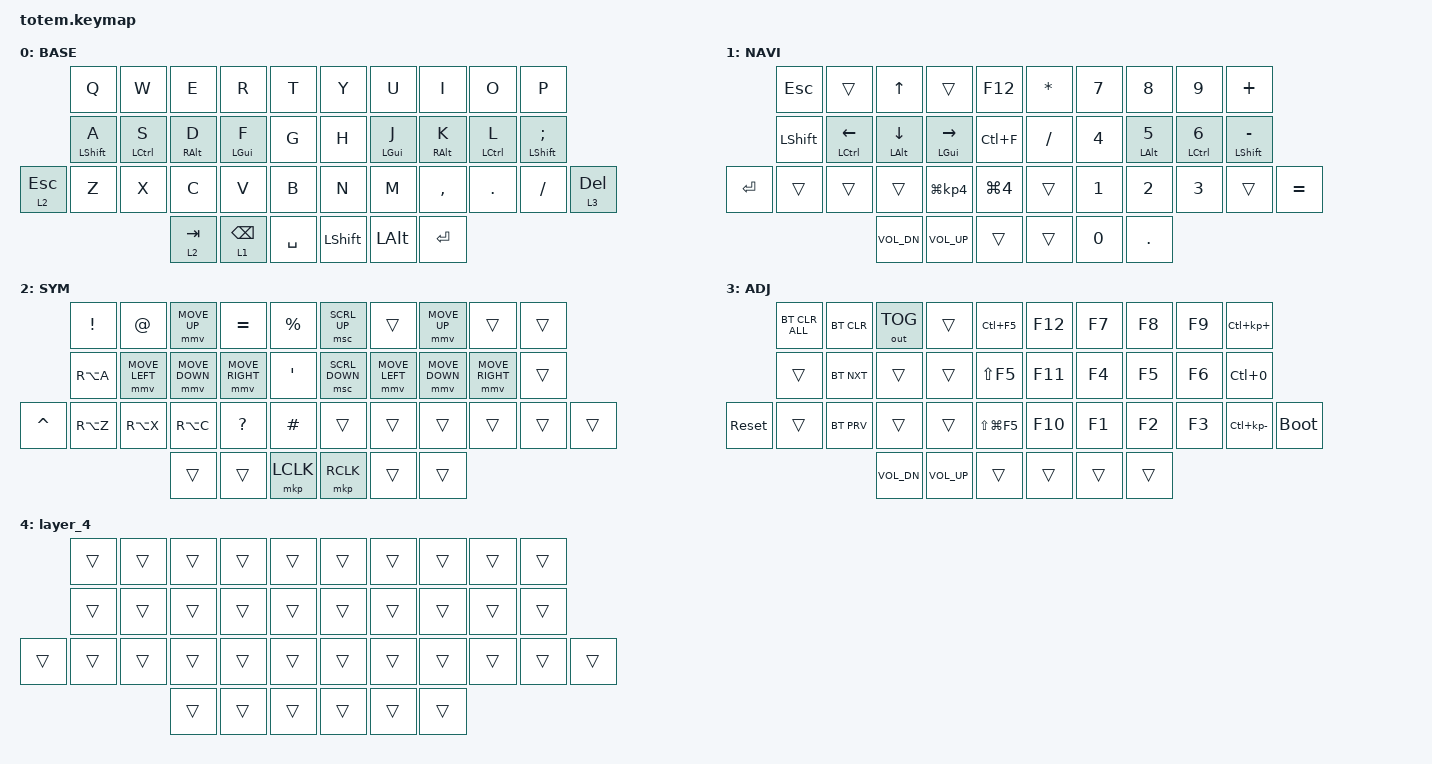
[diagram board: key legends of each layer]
//
//                                                        ▀▀▀▀▀     ▀▀▀▀▀          ▀▀█▀▀
//                                                        ▄▀▀▀▄  ▄  ▄▀▀▀▄  ▄  ▄▀▀▀▄  █  ▄▀▀▀▄
//                                                        █   █  █  █   █  █  █   █  █  █   █
//                                                         ▀▀▀   █   ▀▀▀   █   ▀▀▀   ▀   ▀▀▀
//                                                               █      ▄▄▄█▄▄▄    █   █  
//                                                               ▀      █  █  █     █▄█
//                                                             ▀▀▀▀▀    █  █  █      ▀
//                                                                      ▀  ▀  ▀
//
// ▄▄▄▄▄▄▄▄▄▄▄▄▄▄▄▄▄▄▄▄▄▄▄▄▄▄▄▄▄▄▄▄▄▄▄▄▄▄▄▄▄▄▄▄▄▄▄▄▄▄▄▄▄▄▄▄▄▄▄▄▄▄▄▄▄▄▄▄▄▄▄▄▄▄▄▄▄▄▄▄▄▄▄▄▄▄▄▄▄▄▄▄▄▄▄▄▄▄▄▄▄▄▄▄▄▄▄▄▄▄▄▄▄▄▄▄▄▄▄▄▄▄▄▄▄▄▄▄▄▄▄▄▄▄▄▄▄▄▄▄▄▄▄▄▄▄▄▄▄

#include <behaviors.dtsi>
#include <dt-bindings/zmk/bt.h>
#include <dt-bindings/zmk/keys.h>
#include <dt-bindings/zmk/outputs.h>
#include <dt-bindings/zmk/pointing.h>

#define BASE 0
#define NAV  1
#define SYM  2
#define ADJ  3
#define TVP1 4
#define TVP2 5

&mt {
    quick-tap-ms = <(-1)>;
    global-quick-tap;
    flavor = "balanced";
    tapping-term-ms = <200>;
    require-prior-idle-ms = <(-1)>;
};

&sl { release-after-ms = <200>; };

/ {
    combos {
        compatible = "zmk,combos";

        left-parenthesis {
            bindings = <&kp LEFT_PARENTHESIS>;
            key-positions = <12 13>;
        };

        right-parenthesis {
            bindings = <&kp RIGHT_PARENTHESIS>;
            key-positions = <16 17>;
        };

        left-brace {
            bindings = <&kp LEFT_BRACE>;
            key-positions = <12 11>;
        };

        right-brace {
            bindings = <&kp RIGHT_BRACE>;
            key-positions = <17 18>;
        };

        left-bracket {
            bindings = <&kp LEFT_BRACKET>;
            key-positions = <10 11>;
        };

        right-bracket {
            bindings = <&kp RIGHT_BRACKET>;
            key-positions = <18 19>;
        };

        less-than {
            bindings = <&kp LESS_THAN>;
            key-positions = <13 10>;
        };

        more-than {
            bindings = <&kp GREATER_THAN>;
            key-positions = <16 19>;
        };

        and {
            bindings = <&kp AMPS>;
            key-positions = <6 7>;
        };

        or {
            bindings = <&kp PIPE>;
            key-positions = <7 8>;
        };

        not {
            bindings = <&kp EXCLAMATION>;
            key-positions = <8 9>;
        };

        dollar {
            bindings = <&kp DOLLAR>;
            key-positions = <3 2>;
        };

        hash {
            bindings = <&kp HASH>;
            key-positions = <2 1>;
        };

        at {
            bindings = <&kp AT_SIGN>;
            key-positions = <1 0>;
        };

        single-quote {
            bindings = <&kp SINGLE_QUOTE>;
            key-positions = <27 28>;
        };

        dash {
            bindings = <&kp MINUS>;
            key-positions = <28 29>;
        };

        tilde {
            bindings = <&kp TILDE>;
            key-positions = <29 30>;
        };

        percent {
            bindings = <&kp PERCENT>;
            key-positions = <24 23>;
        };

        asterisk {
            bindings = <&kp ASTERISK>;
            key-positions = <23 22>;
        };

        backtick {
            bindings = <&kp GRAVE>;
            key-positions = <21 22>;
        };
    };

    macros {
        gif: gif {
            label = "giphy";
            compatible = "zmk,behavior-macro";
            #binding-cells = <0>;
            bindings =
                <&macro_press>,
                <&kp LSHFT>,
                <&macro_tap>,
                <&kp N2>,
                <&macro_release>,
                <&kp LSHFT>,
                <&macro_tap>,
                <&kp G &kp I &kp F>;
        };
    };

    behaviors {
        cfmod: cfmod {
            compatible = "zmk,behavior-hold-tap";
            label = "Custom fast mod";
            bindings = <&kp>, <&kp>;

            #binding-cells = <2>;
            quick-tap-ms = <150>;
            require-prior-idle-ms = <100>;
            tapping-term-ms = <200>;
            flavor = "balanced";
        };

        cflt: cflt {
            compatible = "zmk,behavior-hold-tap";
            label = "custom fast layer tap";
            bindings = <&mo>, <&kp>;

            #binding-cells = <2>;
            quick-tap-ms = <175>;
            require-prior-idle-ms = <(-1)>;
            tapping-term-ms = <280>;
            flavor = "tap-preferred";
        };
    };

    keymap {
        compatible = "zmk,keymap";

        // ▄▄▄▄▄▄▄▄▄▄▄▄▄▄▄▄▄▄▄▄▄▄▄▄▄▄▄▄▄▄▄▄▄▄▄▄▄▄▄▄▄▄▄▄▄▄▄▄▄▄▄▄▄▄▄▄▄▄▄▄▄▄▄▄▄▄▄▄▄▄▄▄▄▄▄▄▄▄▄▄▄▄▄▄▄▄▄▄▄▄▄▄▄▄▄▄▄▄▄▄▄▄▄▄▄▄▄▄▄▄▄▄▄▄▄▄▄▄▄▄▄▄▄▄▄▄▄▄▄▄▄▄▄▄▄▄▄▄▄▄▄▄▄▄▄▄▄▄▄

        base_layer {
            // ┏━━━━━━━━━━━━━━━━━━━━━━━━━━━━━━━━━━━━━━━┓

            label = "BASE";

            // ┗━━━━━━━━━━━━━━━━━━━━━━━━━━━━━━━━━━━━━━━┛
            //             ┏━━━━━━━━━━━┳━━━━━━━━━━━┳━━━━━━━━━━━┳━━━━━━━━━━━┳━━━━━━━━━━━┓   ┏━━━━━━━━━━━┳━━━━━━━━━━━┳━━━━━━━━━━━┳━━━━━━━━━━━┳━━━━━━━━━━━┓
            //             ┃     Q     ┃     W     ┃     F     ┃     P     ┃     G     ┃   ┃     J     ┃     L     ┃     U     ┃     Y     ┃     ;     ┃
            //             ┣━━━━━━━━━━━╋━━━━━━━━━━━╋━━━━━━━━━━━╋━━━━━━━━━━━╋━━━━━━━━━━━┫   ┣━━━━━━━━━━━╋━━━━━━━━━━━╋━━━━━━━━━━━╋━━━━━━━━━━━╋━━━━━━━━━━━┫
            //             ┃     A     ┃     R     ┃     S     ┃     T     ┃     D     ┃   ┃     H     ┃     N     ┃     E     ┃     I     ┃     O     ┃
            // ┏━━━━━━━━━━━╋━━━━━━━━━━━╋━━━━━━━━━━━╋━━━━━━━━━━━╋━━━━━━━━━━━╋━━━━━━━━━━━┫   ┣━━━━━━━━━━━╋━━━━━━━━━━━╋━━━━━━━━━━━╋━━━━━━━━━━━╋━━━━━━━━━━━╋━━━━━━━━━━━┓
            // ┃     Q     ┃     Z     ┃     X     ┃     C     ┃     V     ┃     B     ┃   ┃     K     ┃     M     ┃     ,     ┃     .     ┃     /     ┃     \     ┃
            // ┗━━━━━━━━━━━┻━━━━━━━━━━━┻━━━━━━━━━━━╋━━━━━━━━━━━╋━━━━━━━━━━━╋━━━━━━━━━━━┫   ┣━━━━━━━━━━━╋━━━━━━━━━━━╋━━━━━━━━━━━╋━━━━━━━━━━━┻━━━━━━━━━━━┻━━━━━━━━━━━┛
            //                                     ┃    DEL    ┃    TAB    ┃    SPC    ┃   ┃   ENTER   ┃           ┃   BSPC    ┃
            //                                     ┗━━━━━━━━━━━┻━━━━━━━━━━━┻━━━━━━━━━━━┛   ┗━━━━━━━━━━━┻━━━━━━━━━━━┻━━━━━━━━━━━┛

            bindings = <
                &kp Q                &kp W           &kp E               &kp R              &kp T        &kp Y           &kp U              &kp I               &kp O           &kp P
                &cfmod LEFT_SHIFT A  &cfmod LCTRL S  &cfmod RIGHT_ALT D  &cfmod LEFT_GUI F  &kp G        &kp H           &cfmod LEFT_GUI J  &cfmod RIGHT_ALT K  &cfmod LCTRL L  &cfmod LEFT_SHIFT SEMICOLON
&cflt 2 ESCAPE  &kp Z                &kp X           &kp C               &kp V              &kp B        &kp N           &kp M              &kp COMMA           &kp DOT         &kp SLASH                    &cflt 3 DELETE
                                                     &cflt 2 TAB         &cflt 1 BACKSPACE  &kp SPACE    &kp LEFT_SHIFT  &kp LALT           &kp RET
            >;
        };

        // ▄▄▄▄▄▄▄▄▄▄▄▄▄▄▄▄▄▄▄▄▄▄▄▄▄▄▄▄▄▄▄▄▄▄▄▄▄▄▄▄▄▄▄▄▄▄▄▄▄▄▄▄▄▄▄▄▄▄▄▄▄▄▄▄▄▄▄▄▄▄▄▄▄▄▄▄▄▄▄▄▄▄▄▄▄▄▄▄▄▄▄▄▄▄▄▄▄▄▄▄▄▄▄▄▄▄▄▄▄▄▄▄▄▄▄▄▄▄▄▄▄▄▄▄▄▄▄▄▄▄▄▄▄▄▄▄▄▄▄▄▄▄▄▄▄▄▄▄▄

        nav_layer {
            // ┏━━━━━━━━━━━━━━━━━━━━━━━━━━━━━━━━━━━━━━━┓

            label = "NAVI";

            // ┗━━━━━━━━━━━━━━━━━━━━━━━━━━━━━━━━━━━━━━━┛
            //             ┏━━━━━━━━━━━┳━━━━━━━━━━━┳━━━━━━━━━━━┳━━━━━━━━━━━┳━━━━━━━━━━━┓   ┏━━━━━━━━━━━┳━━━━━━━━━━━┳━━━━━━━━━━━┳━━━━━━━━━━━┳━━━━━━━━━━━┓
            //             ┃           ┃           ┃     UP    ┃           ┃     {     ┃   ┃     }     ┃     7     ┃     8     ┃     9     ┃     +     ┃
            //             ┣━━━━━━━━━━━╋━━━━━━━━━━━╋━━━━━━━━━━━╋━━━━━━━━━━━╋━━━━━━━━━━━┫   ┣━━━━━━━━━━━╋━━━━━━━━━━━╋━━━━━━━━━━━╋━━━━━━━━━━━╋━━━━━━━━━━━┫
            //             ┃   SHIFT   ┃   LEFT    ┃    DOWN   ┃   RIGHT   ┃     [     ┃   ┃     ]     ┃     4     ┃     5     ┃     6     ┃     -     ┃
            // ┏━━━━━━━━━━━╋━━━━━━━━━━━╋━━━━━━━━━━━╋━━━━━━━━━━━╋━━━━━━━━━━━╋━━━━━━━━━━━┫   ┣━━━━━━━━━━━╋━━━━━━━━━━━╋━━━━━━━━━━━╋━━━━━━━━━━━╋━━━━━━━━━━━╋━━━━━━━━━━━┓
            // ┃           ┃           ┃   P UP    ┃  C LOCK   ┃  P DOWN   ┃     (     ┃   ┃     )     ┃     1     ┃     2     ┃     3     ┃     *     ┃           ┃
            // ┗━━━━━━━━━━━┻━━━━━━━━━━━┻━━━━━━━━━━━╋━━━━━━━━━━━╋━━━━━━━━━━━╋━━━━━━━━━━━┫   ┣━━━━━━━━━━━╋━━━━━━━━━━━╋━━━━━━━━━━━╋━━━━━━━━━━━┻━━━━━━━━━━━┻━━━━━━━━━━━┛
            //                                     ┃           ┃    TAB    ┃    SPC    ┃   ┃    DEL    ┃     0     ┃           ┃
            //                                     ┗━━━━━━━━━━━┻━━━━━━━━━━━┻━━━━━━━━━━━┛   ┗━━━━━━━━━━━┻━━━━━━━━━━━┻━━━━━━━━━━━┛

            bindings = <
            &kp ESC         &trans             &kp UP                      &trans                       &kp F12             &kp STAR   &kp N7        &kp N8                    &kp N9                 &kp PLUS
            &kp LEFT_SHIFT  &cfmod LCTRL LEFT  &cfmod LEFT_ALT DOWN_ARROW  &cfmod LEFT_GUI RIGHT_ARROW  &kp LC(F)           &kp SLASH  &kp NUMBER_4  &cfmod LEFT_ALT NUMBER_5  &cfmod LCTRL NUMBER_6  &cfmod LEFT_SHIFT MINUS
&kp RETURN  &trans          &trans             &trans                      &kp LG(KP_NUMBER_4)          &kp LG(NUMBER_4)    &trans     &kp N1        &kp NUMBER_2              &kp NUMBER_3           &trans                   &kp EQUAL
                                               &kp C_VOL_DN                &kp C_VOLUME_UP              &trans              &trans     &kp N0        &kp DOT
            >;
        };

        // ▄▄▄▄▄▄▄▄▄▄▄▄▄▄▄▄▄▄▄▄▄▄▄▄▄▄▄▄▄▄▄▄▄▄▄▄▄▄▄▄▄▄▄▄▄▄▄▄▄▄▄▄▄▄▄▄▄▄▄▄▄▄▄▄▄▄▄▄▄▄▄▄▄▄▄▄▄▄▄▄▄▄▄▄▄▄▄▄▄▄▄▄▄▄▄▄▄▄▄▄▄▄▄▄▄▄▄▄▄▄▄▄▄▄▄▄▄▄▄▄▄▄▄▄▄▄▄▄▄▄▄▄▄▄▄▄▄▄▄▄▄▄▄▄▄▄▄▄▄

        sim_layer {
            // ┏━━━━━━━━━━━━━━━━━━━━━━━━━━━━━━━━━━━━━━━┓

            label = "SYM";

            // ┗━━━━━━━━━━━━━━━━━━━━━━━━━━━━━━━━━━━━━━━┛
            //             ┏━━━━━━━━━━━┳━━━━━━━━━━━┳━━━━━━━━━━━┳━━━━━━━━━━━┳━━━━━━━━━━━┓   ┏━━━━━━━━━━━┳━━━━━━━━━━━┳━━━━━━━━━━━┳━━━━━━━━━━━┳━━━━━━━━━━━┓
            //             ┃     !     ┃     @     ┃     #     ┃     $     ┃     %     ┃   ┃     ˆ     ┃     &     ┃     Ü     ┃     '     ┃     "     ┃
            //             ┣━━━━━━━━━━━╋━━━━━━━━━━━╋━━━━━━━━━━━╋━━━━━━━━━━━╋━━━━━━━━━━━┫   ┣━━━━━━━━━━━╋━━━━━━━━━━━╋━━━━━━━━━━━╋━━━━━━━━━━━╋━━━━━━━━━━━┫
            //             ┃     Ä     ┃           ┃    SZ     ┃           ┃           ┃   ┃   MUTE    ┃   YEN     ┃   EURO    ┃  POUND    ┃     Ö     ┃
            // ┏━━━━━━━━━━━╋━━━━━━━━━━━╋━━━━━━━━━━━╋━━━━━━━━━━━╋━━━━━━━━━━━╋━━━━━━━━━━━┫   ┣━━━━━━━━━━━╋━━━━━━━━━━━╋━━━━━━━━━━━╋━━━━━━━━━━━╋━━━━━━━━━━━╋━━━━━━━━━━━┓
            // ┃           ┃  EMAIL1   ┃  EMAIL2   ┃           ┃           ┃           ┃   ┃   VOL-    ┃   VOL+    ┃   LAST    ┃   NEXT    ┃     \     ┃           ┃
            // ┗━━━━━━━━━━━┻━━━━━━━━━━━┻━━━━━━━━━━━╋━━━━━━━━━━━╋━━━━━━━━━━━╋━━━━━━━━━━━┫   ┣━━━━━━━━━━━╋━━━━━━━━━━━╋━━━━━━━━━━━╋━━━━━━━━━━━┻━━━━━━━━━━━┻━━━━━━━━━━━┛
            //                                     ┃           ┃    GIF    ┃    ADJ    ┃   ┃           ┃           ┃           ┃
            //                                     ┗━━━━━━━━━━━┻━━━━━━━━━━━┻━━━━━━━━━━━┛   ┗━━━━━━━━━━━┻━━━━━━━━━━━┻━━━━━━━━━━━┛

            bindings = <
           &kp EXCL   &kp AT          &mmv MOVE_UP    &kp EQUAL        &kp PRCNT           &msc SCRL_UP    &trans          &mmv MOVE_UP    &trans           &trans
           &kp RA(A)  &mmv MOVE_LEFT  &mmv MOVE_DOWN  &mmv MOVE_RIGHT  &kp SINGLE_QUOTE    &msc SCRL_DOWN  &mmv MOVE_LEFT  &mmv MOVE_DOWN  &mmv MOVE_RIGHT  &trans
&kp CARET  &kp RA(Z)  &kp RA(X)       &kp RA(C)       &kp QUESTION     &kp HASH            &trans          &trans          &trans          &trans           &trans  &trans
                                      &trans          &trans           &mkp LCLK           &mkp RCLK       &trans          &trans
            >;
        };

        // ▄▄▄▄▄▄▄▄▄▄▄▄▄▄▄▄▄▄▄▄▄▄▄▄▄▄▄▄▄▄▄▄▄▄▄▄▄▄▄▄▄▄▄▄▄▄▄▄▄▄▄▄▄▄▄▄▄▄▄▄▄▄▄▄▄▄▄▄▄▄▄▄▄▄▄▄▄▄▄▄▄▄▄▄▄▄▄▄▄▄▄▄▄▄▄▄▄▄▄▄▄▄▄▄▄▄▄▄▄▄▄▄▄▄▄▄▄▄▄▄▄▄▄▄▄▄▄▄▄▄▄▄▄▄▄▄▄▄▄▄▄▄▄▄▄▄▄▄▄

        adjust_layer {
            // ┏━━━━━━━━━━━━━━━━━━━━━━━━━━━━━━━━━━━━━━━┓

            label = "ADJ";

            // ┗━━━━━━━━━━━━━━━━━━━━━━━━━━━━━━━━━━━━━━━┛
            //             ┏━━━━━━━━━━━┳━━━━━━━━━━━┳━━━━━━━━━━━┳━━━━━━━━━━━┳━━━━━━━━━━━┓   ┏━━━━━━━━━━━┳━━━━━━━━━━━┳━━━━━━━━━━━┳━━━━━━━━━━━┳━━━━━━━━━━━┓
            //             ┃   RESET   ┃ BT CLEAR  ┃  OUT TOG  ┃           ┃           ┃   ┃           ┃    F7     ┃    F8     ┃    F9     ┃    F12    ┃
            //             ┣━━━━━━━━━━━╋━━━━━━━━━━━╋━━━━━━━━━━━╋━━━━━━━━━━━╋━━━━━━━━━━━┫   ┣━━━━━━━━━━━╋━━━━━━━━━━━╋━━━━━━━━━━━╋━━━━━━━━━━━╋━━━━━━━━━━━┫
            //             ┃ BOOTLOAD  ┃ BT NEXT   ┃           ┃           ┃           ┃   ┃           ┃    F4     ┃    F5     ┃    F6     ┃    F11    ┃
            // ┏━━━━━━━━━━━╋━━━━━━━━━━━╋━━━━━━━━━━━╋━━━━━━━━━━━╋━━━━━━━━━━━╋━━━━━━━━━━━┫   ┣━━━━━━━━━━━╋━━━━━━━━━━━╋━━━━━━━━━━━╋━━━━━━━━━━━╋━━━━━━━━━━━╋━━━━━━━━━━━┓
            // ┃           ┃           ┃ BT PREV   ┃           ┃           ┃           ┃   ┃           ┃    F1     ┃    F2     ┃    F3     ┃    F10    ┃           ┃
            // ┗━━━━━━━━━━━┻━━━━━━━━━━━┻━━━━━━━━━━━╋━━━━━━━━━━━╋━━━━━━━━━━━╋━━━━━━━━━━━┫   ┣━━━━━━━━━━━╋━━━━━━━━━━━╋━━━━━━━━━━━╋━━━━━━━━━━━┻━━━━━━━━━━━┻━━━━━━━━━━━┛
            //                                     ┃           ┃           ┃           ┃   ┃           ┃           ┃           ┃
            //                                     ┗━━━━━━━━━━━┻━━━━━━━━━━━┻━━━━━━━━━━━┛   ┗━━━━━━━━━━━┻━━━━━━━━━━━┻━━━━━━━━━━━┛

            bindings = <
            &bt BT_CLR_ALL  &bt BT_CLR  &out OUT_TOG  &trans           &kp LC(F5)        &kp F12  &kp F7  &kp F8  &kp F9  &kp LC(KP_PLUS)
            &trans          &bt BT_NXT  &trans        &trans           &kp LS(F5)        &kp F11  &kp F4  &kp F5  &kp F6  &kp LC(NUMBER_0)
&sys_reset  &trans          &bt BT_PRV  &trans        &trans           &kp LS(LG(F5))    &kp F10  &kp F1  &kp F2  &kp F3  &kp LC(KP_MINUS)  &bootloader
                                        &kp C_VOL_DN  &kp C_VOLUME_UP  &trans            &trans   &trans  &trans
            >;
        };

        layer_4 {
            bindings = <
        &trans  &trans  &trans  &trans  &trans    &trans  &trans  &trans  &trans  &trans
        &trans  &trans  &trans  &trans  &trans    &trans  &trans  &trans  &trans  &trans
&trans  &trans  &trans  &trans  &trans  &trans    &trans  &trans  &trans  &trans  &trans  &trans
                        &trans  &trans  &trans    &trans  &trans  &trans
            >;
        };

        // ▄▄▄▄▄▄▄▄▄▄▄▄▄▄▄▄▄▄▄▄▄▄▄▄▄▄▄▄▄▄▄▄▄▄▄▄▄▄▄▄▄▄▄▄▄▄▄▄▄▄▄▄▄▄▄▄▄▄▄▄▄▄▄▄▄▄▄▄▄▄▄▄▄▄▄▄▄▄▄▄▄▄▄▄▄▄▄▄▄▄▄▄▄▄▄▄▄▄▄▄▄▄▄▄▄▄▄▄▄▄▄▄▄▄▄▄▄▄▄▄▄▄▄▄▄▄▄▄▄▄▄▄▄▄▄▄▄▄▄▄▄▄▄▄▄▄▄▄▄
        // ▄▄▄▄▄▄▄▄▄▄▄▄▄▄▄▄▄▄▄▄▄▄▄▄▄▄▄▄▄▄▄▄▄▄▄▄▄▄▄▄▄▄▄▄▄▄▄▄▄▄▄▄▄▄▄▄▄▄▄▄▄▄▄▄▄▄▄▄▄▄▄▄▄▄▄▄▄▄▄▄▄▄▄▄▄▄▄▄▄▄▄▄▄▄▄▄▄▄▄▄▄▄▄▄▄▄▄▄▄▄▄▄▄▄▄▄▄▄▄▄▄▄▄▄▄▄▄▄▄▄▄▄▄▄▄▄▄▄▄▄▄▄▄▄▄▄▄▄▄
    };
};
